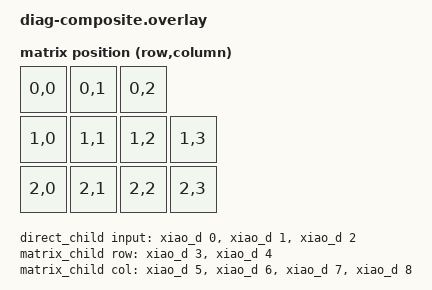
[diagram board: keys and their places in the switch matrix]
/*
 * Replace tester_xiao's baseline direct kscan with a zmk,kscan-composite
 * wrapping a direct child (row 0, 3 keys) and a matrix child (rows 1-2, 2x4
 * cells, 8 of which are mapped), so kscan diagnostics' topology code can be
 * exercised against composite child resolution (leaf_index + row/col
 * offsets) in a real build.
 *
 * tester_xiao's shared transform0 is sized to match its keymap (11
 * bindings, see tester_xiao.keymap), so the composite's total mapped cells
 * must be 11: 3 (direct) + 8 (matrix) = 11. Pin budget: 3 + (2 + 4) = 9,
 * within tester_xiao's xiao_d 0..10 budget.
 */
&kscan0 {
	status = "disabled";
};

/ {
	chosen {
		zmk,kscan = &composite_kscan;
	};

	direct_child: direct_child {
		compatible = "zmk,kscan-gpio-direct";
		wakeup-source;
		debounce-press-ms = <5>;
		debounce-release-ms = <5>;
		input-gpios
			= <&xiao_d 0 (GPIO_ACTIVE_LOW | GPIO_PULL_UP)>
			, <&xiao_d 1 (GPIO_ACTIVE_LOW | GPIO_PULL_UP)>
			, <&xiao_d 2 (GPIO_ACTIVE_LOW | GPIO_PULL_UP)>
			;
	};

	matrix_child: matrix_child {
		compatible = "zmk,kscan-gpio-matrix";
		wakeup-source;
		diode-direction = "col2row";
		debounce-press-ms = <5>;
		debounce-release-ms = <5>;
		row-gpios
			= <&xiao_d 3 (GPIO_ACTIVE_HIGH)>
			, <&xiao_d 4 (GPIO_ACTIVE_HIGH)>
			;
		col-gpios
			= <&xiao_d 5 (GPIO_ACTIVE_HIGH)>
			, <&xiao_d 6 (GPIO_ACTIVE_HIGH)>
			, <&xiao_d 7 (GPIO_ACTIVE_HIGH)>
			, <&xiao_d 8 (GPIO_ACTIVE_HIGH)>
			;
	};

	composite_kscan: composite_kscan {
		compatible = "zmk,kscan-composite";
		rows = <3>;
		columns = <4>;

		direct_part {
			kscan = <&direct_child>;
			row-offset = <0>;
			col-offset = <0>;
		};

		matrix_part {
			kscan = <&matrix_child>;
			row-offset = <1>;
			col-offset = <0>;
		};
	};
};

&physical_layout0 {
	kscan = <&composite_kscan>;
};

/*
 * RC(row, col) here must be the matrix-transform variant, but the keymap's
 * own includes (dt-bindings/zmk/keys.h -> modifiers.h) redefine RC(keycode)
 * as a single-argument modifier helper. Force the matrix-transform
 * definition back for this file (zmk-module-dev SKILL.md pitfall).
 */
#undef RC
#include <dt-bindings/zmk/matrix_transform.h>

&transform0 {
	rows = <3>;
	columns = <4>;
	map = <
	RC(0,0)  RC(0,1)  RC(0,2)
	RC(1,0)  RC(1,1)  RC(1,2)  RC(1,3)
	RC(2,0)  RC(2,1)  RC(2,2)  RC(2,3)
	>;
};
